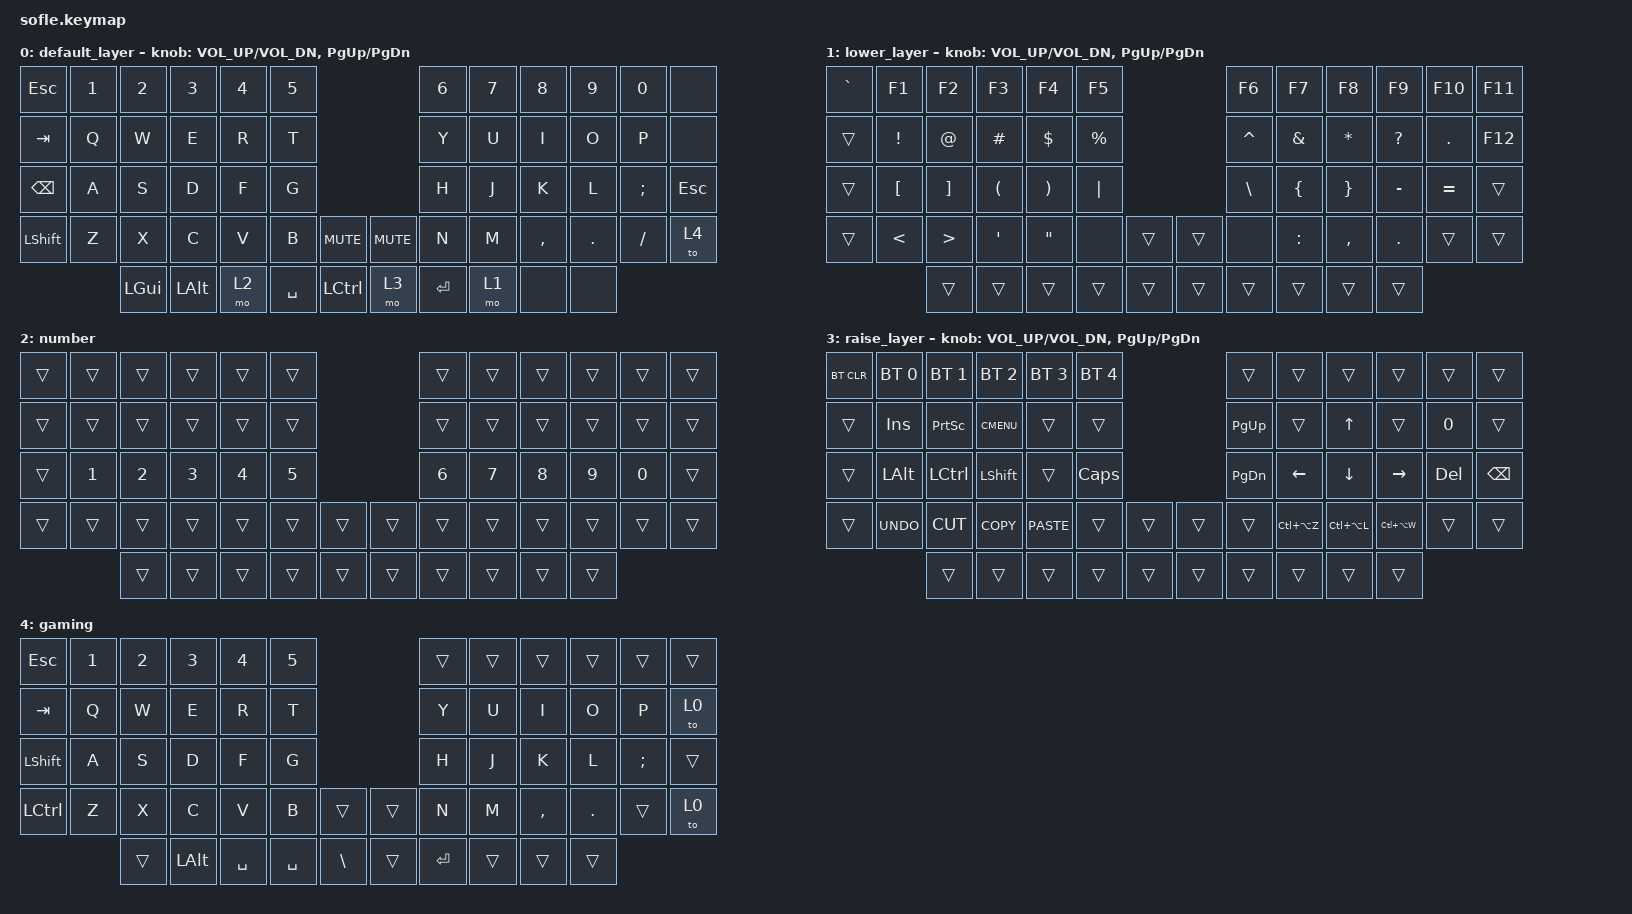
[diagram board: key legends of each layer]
/*
 * Copyright (c) 2020 The ZMK Contributors
 *
 * SPDX-License-Identifier: MIT
 */

#include <behaviors.dtsi>
#include <dt-bindings/zmk/bt.h>
#include <dt-bindings/zmk/keys.h>

/ {
    keymap {
        compatible = "zmk,keymap";

        default_layer {
            // ------------------------------------------------------------------------------------------------------------
            // |  `    |  1  |  2  |  3   |  4   |  5   |                   |  6   |  7    |  8    |  9   |   0   |       |
            // |  ESC  |  Q  |  W  |  E   |  R   |  T   |                   |  Y   |  U    |  I    |  O   |   P   | BKSPC |
            // |  TAB  |  A  |  S  |  D   |  F   |  G   |                   |  H   |  J    |  K    |  L   |   ;   |   '   |
            // | SHIFT |  Z  |  X  |  C   |  V   |  B   |  MUTE  |  |       |  N   |  M    |  ,    |  .   |   /   | SH IFT |
            //               | GUI | ALT  | CTRL | LOWER|  ENTER |  | SPACE | RAISE| CTRL  | ALT   | GUI  |

            bindings = <
&kp ESCAPE      &kp N1  &kp N2    &kp N3    &kp N4  &kp N5                               &kp N6     &kp N7  &kp N8     &kp N9   &kp N0    &none
&kp TAB         &kp Q   &kp W     &kp E     &kp R   &kp T                                &kp Y      &kp U   &kp I      &kp O    &kp P     &none
&kp BSPC        &kp A   &kp S     &kp D     &kp F   &kp G                                &kp H      &kp J   &kp K      &kp L    &kp SEMI  &kp ESC
&kp LEFT_SHIFT  &kp Z   &kp X     &kp C     &kp V   &kp B      &kp C_MUTE    &kp C_MUTE  &kp N      &kp M   &kp COMMA  &kp DOT  &kp FSLH  &to 4
                        &kp LGUI  &kp LALT  &mo 2   &kp SPACE  &kp LCTRL     &mo 3       &kp ENTER  &mo 1   &none      &none
            >;

            sensor-bindings = <&inc_dec_kp C_VOL_UP C_VOL_DN &inc_dec_kp PG_UP PG_DN>;
        };

        lower_layer {
            // TODO: Some binds are waiting for shifted keycode support.
            // ------------------------------------------------------------------------------------------------------------
            // |       |  F1 |  F2 |  F3  |  F4  |  F5  |                   |  F6  |  F7   |  F8   |  F9  |  F10  |  F11  |
            // | `     |   1 |   2 |   3  |   4  |   5  |                   |   6  |   7   |   8   |   9  |    0  |  F12  |
            // |       |  !  |  @  |  #   |  $   |  %   |                   |  ^   |  &    |  *    |  (   |   )   |   |   |
            // |       |  =  |  -  |  +   |  {   |  }   |        |  |       |  [   |  ]    |  ;    |  :   |   \   |       |
            //               |     |      |      |      |        |  |       |      |       |       |      |

            bindings = <
&kp GRAVE  &kp F1         &kp F2             &kp F3                &kp F4                 &kp F5                         &kp F6         &kp F7          &kp F8           &kp F9        &kp F10     &kp F11
&trans     &kp EXCL       &kp AT             &kp HASH              &kp DOLLAR             &kp PERCENT                    &kp CARET      &kp AMPERSAND   &kp STAR         &kp QUESTION  &kp PERIOD  &kp F12
&trans     &kp LBKT       &kp RIGHT_BRACKET  &kp LEFT_PARENTHESIS  &kp RIGHT_PARENTHESIS  &kp PIPE                       &kp BACKSLASH  &kp LEFT_BRACE  &kp RIGHT_BRACE  &kp MINUS     &kp EQUAL   &trans
&trans     &kp LESS_THAN  &kp GREATER_THAN   &kp SINGLE_QUOTE      &kp DOUBLE_QUOTES      &none        &trans    &trans  &none          &kp COLON       &kp COMMA        &kp PERIOD    &trans      &trans
                          &trans             &trans                &trans                 &trans       &trans    &trans  &trans         &trans          &trans           &trans
            >;

            sensor-bindings = <&inc_dec_kp C_VOL_UP C_VOL_DN &inc_dec_kp PG_UP PG_DN>;
        };

        number {
            bindings = <
&trans  &trans  &trans  &trans  &trans  &trans                    &trans  &trans  &trans  &trans  &trans  &trans
&trans  &trans  &trans  &trans  &trans  &trans                    &trans  &trans  &trans  &trans  &trans  &trans
&trans  &kp N1  &kp N2  &kp N3  &kp N4  &kp N5                    &kp N6  &kp N7  &kp N8  &kp N9  &kp N0  &trans
&trans  &trans  &trans  &trans  &trans  &trans  &trans    &trans  &trans  &trans  &trans  &trans  &trans  &trans
                &trans  &trans  &trans  &trans  &trans    &trans  &trans  &trans  &trans  &trans
            >;
        };

        raise_layer {
            // ------------------------------------------------------------------------------------------------------------
            // |BTCLR| BT1  | BT2  |  BT3  |  BT4  |  BT5 |                |      |      |       |      |       |       |
            // |     | INS  | PSCR | GUI   |       |      |                | PGUP |      |   ^   |      |       |       |
            // |     | ALT  | CTRL | SHIFT |       | CAPS |                | PGDN |   <- |   v   |  ->  |  DEL  | BKSPC |
            // |     | UNDO | CUT  | COPY  | PASTE |      |      |  |      |      |      |       |      |       |       |
            //              |      |       |       |      |      |  |      |      |      |       |      |

            bindings = <
&bt BT_CLR  &bt BT_SEL 0  &bt BT_SEL 1  &bt BT_SEL 2  &bt BT_SEL 3  &bt BT_SEL 4                    &trans     &trans         &trans         &trans         &trans   &trans
&trans      &kp INS       &kp PSCRN     &kp K_CMENU   &trans        &trans                          &kp PG_UP  &trans         &kp UP         &trans         &kp N0   &trans
&trans      &kp LALT      &kp LCTRL     &kp LSHFT     &trans        &kp CLCK                        &kp PG_DN  &kp LEFT       &kp DOWN       &kp RIGHT      &kp DEL  &kp BSPC
&trans      &kp K_UNDO    &kp K_CUT     &kp K_COPY    &kp K_PASTE   &trans        &trans    &trans  &trans     &kp LC(LA(Z))  &kp LC(LA(L))  &kp LC(LA(W))  &trans   &trans
                          &trans        &trans        &trans        &trans        &trans    &trans  &trans     &trans         &trans         &trans
            >;

            sensor-bindings = <&inc_dec_kp C_VOL_UP C_VOL_DN &inc_dec_kp PG_UP PG_DN>;
        };

        gaming {
            bindings = <
&kp ESC    &kp N1  &kp N2  &kp N3    &kp N4     &kp N5                         &trans   &trans  &trans     &trans    &trans    &trans
&kp TAB    &kp Q   &kp W   &kp E     &kp R      &kp T                          &kp Y    &kp U   &kp I      &kp O     &kp P     &to 0
&kp LSHFT  &kp A   &kp S   &kp D     &kp F      &kp G                          &kp H    &kp J   &kp K      &kp L     &kp SEMI  &trans
&kp LCTRL  &kp Z   &kp X   &kp C     &kp V      &kp B      &trans      &trans  &kp N    &kp M   &kp COMMA  &kp DOT   &trans    &to 0
                   &trans  &kp LALT  &kp SPACE  &kp SPACE  &kp BSLH    &trans  &kp RET  &trans  &trans     &trans
            >;
        };
    };
};
